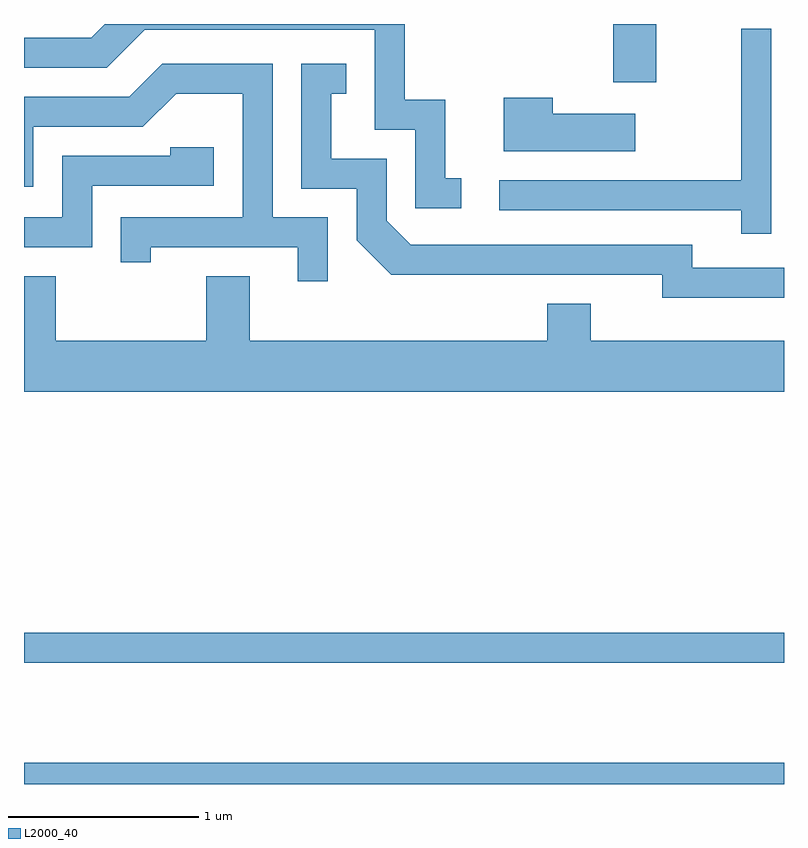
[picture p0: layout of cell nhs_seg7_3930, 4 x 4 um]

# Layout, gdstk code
import gdstk
lib = gdstk.Library(unit=1e-6, precision=1e-09)
def R(c, l, rs):  # rectangles x0, y0, x1, y1
    for r in rs: c.add(gdstk.rectangle(r[:2], r[2:], *l))
def P(c, l, *ps):  # polygons
    for p in ps: c.add(gdstk.Polygon(p, *l))
L2000_40 = (2000, 40)

nhs_seg7_3930 = lib.new_cell('nhs_seg7_3930')
R(nhs_seg7_3930, L2000_40, [(305.611,1712.252,309.611,1712.364), (305.611,1712.891,309.611,1713.049), (308.711,1715.946,308.939,1716.252)])
P(nhs_seg7_3930, L2000_40, [(307.913,1715.439),(307.829,1715.439),(307.829,1715.854),(307.614,1715.854),(307.614,1716.252),(306.037,1716.252),(305.964,1716.179),(305.611,1716.179),(305.611,1716.021),(306.047,1716.021),(306.247,1716.221),(307.456,1716.221),(307.456,1715.696),(307.671,1715.696),(307.671,1715.281),(307.913,1715.281)],
  [(309.544,1716.228),(309.386,1716.228),(309.386,1715.429),(308.113,1715.429),(308.113,1715.271),(309.386,1715.271),(309.386,1715.148),(309.544,1715.148)],
  [(309.611,1714.969),(309.129,1714.969),(309.129,1715.089),(307.647,1715.089),(307.519,1715.217),(307.519,1715.544),(307.229,1715.544),(307.229,1715.886),(307.308,1715.886),(307.308,1716.044),(307.071,1716.044),(307.071,1715.386),(307.361,1715.386),(307.361,1715.114),(307.544,1714.931),(308.971,1714.931),(308.971,1714.811),(309.611,1714.811)],
  [(307.209,1715.234),(306.919,1715.234),(306.919,1716.044),(306.339,1716.044),(306.164,1715.869),(305.611,1715.869),(305.611,1715.396),(305.659,1715.396),(305.659,1715.711),(306.237,1715.711),(306.412,1715.886),(306.761,1715.886),(306.761,1715.234),(306.121,1715.234),(306.121,1714.998),(306.279,1714.998),(306.279,1715.076),(307.051,1715.076),(307.051,1714.898),(307.209,1714.898)],
  [(308.829,1715.779),(308.394,1715.779),(308.394,1715.864),(308.136,1715.864),(308.136,1715.581),(308.829,1715.581)],
  [(305.969,1715.401),(306.609,1715.401),(306.609,1715.604),(306.381,1715.604),(306.381,1715.559),(305.811,1715.559),(305.811,1715.234),(305.611,1715.234),(305.611,1715.076),(305.969,1715.076)],
  [(309.611,1714.584),(308.594,1714.584),(308.594,1714.779),(308.366,1714.779),(308.366,1714.584),(306.799,1714.584),(306.799,1714.924),(306.571,1714.924),(306.571,1714.584),(305.779,1714.584),(305.779,1714.924),(305.611,1714.924),(305.611,1714.316),(309.611,1714.316)])

lib.write_gds('nhs_seg7_3930.gds')
